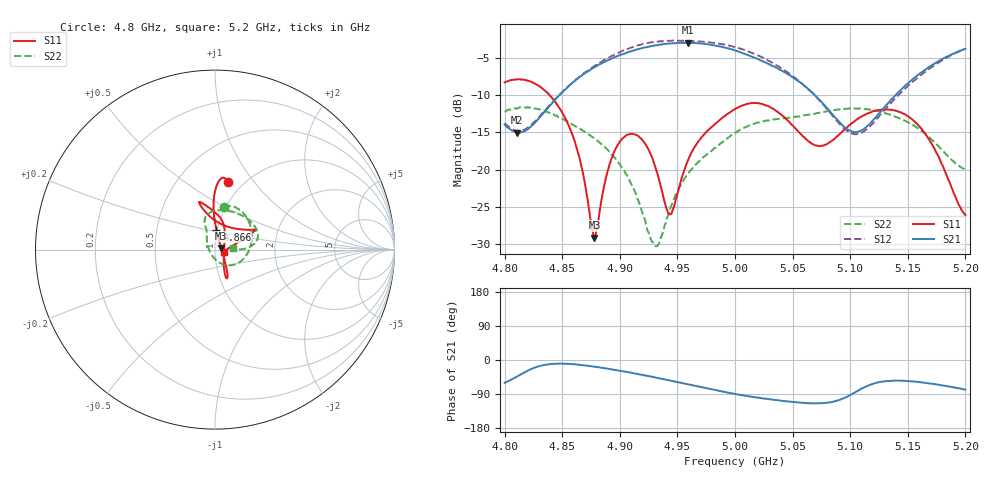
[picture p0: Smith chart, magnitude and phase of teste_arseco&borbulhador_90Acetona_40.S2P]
! Network Analyzer HP8722D
! Hewlett-Packard
! Data name: Linha & Wilkinson
! Saver's name: Rodrigo Anjos
! Comments: Teste da utilização de aquisição
! continua pelo VNA HP8722D
! Time and date: 17/4/2025 11:23
!  Frequency  S11  S21  S12  S22
# HZ  S  MA R 50
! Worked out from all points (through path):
!   401 points, 4.8 GHz to 5.2 GHz, reference 50 ohm
!   highest |S21| = -2.98 dB at 4.959 GHz (marker M1); lowest = -15.0 dB at 4.811 GHz (marker M2)
!   lowest |S11| = -29.1 dB at 4.878 GHz (marker M3), VSWR 1.07, Z = 53.5 + j0.958 ohm
!   |S11| at or under -10 dB: 4.839 GHz to end of sweep
!   |S22| runs from -30.2 to -11.6 dB; largest |S21 - S12| = 1.4
!   S11 on the Smith chart (normalised r, x): 4.8 GHz: 0.85, +0.75; 4.866 GHz: 0.99, +0.22; 5.2 GHz: 1.10, -0.03
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4.8e9  0.3843 79.5  0.2007 -60.2  0.2055 74.9  0.2451 78.1
4.811e9  0.4031 82.8  0.1772 -43.4  0.1824 90.3  0.2572 68.3
4.844e9  0.2844 91.2  0.2952 -10.0  0.297 122.8  0.2301 29.2
4.857e9  0.1869 91.7  0.3714 -10.4  0.3726 124.0  0.205 10.2
4.866e9  0.1112 85.8  0.422 -13.1  0.4254 123.2  0.1871 -3.4
4.867e9  0.103 84.8  0.4278 -13.4  0.4309 123.2  0.1853 -4.9
4.878e9  0.03516 14.7  0.4862 -17.8  0.4946 120.9  0.1624 -21.6
4.891e9  0.1078 -55.5  0.5459 -23.9  0.5668 116.6  0.1318 -40.1
4.904e9  0.1661 -65.2  0.5997 -30.5  0.6316 111.3  0.09819 -58.4
4.92e9  0.1571 -68.5  0.6541 -39.7  0.6964 102.6  0.05017 -93.1
4.929e9  0.115 -64.4  0.6771 -44.9  0.7167 97.2  0.03251 -139.0
4.934e9  0.08619 -55.6  0.6875 -48.2  0.725 93.9  0.03226 -176.3
4.944e9  0.05019 1.3  0.7019 -54.5  0.7303 87.4  0.05575 140.9
4.959e9  0.1148 61.7  0.7096 -64.2  0.7301 77.8  0.09425 119.6
4.973e9  0.1719 78.2  0.6973 -73.2  0.7193 68.9  0.1223 113.1
5e9  0.255 102.7  0.6288 -89.6  0.6645 51.3  0.1772 109.3
5.03e9  0.2638 108.5  0.5078 -103.6  0.5328 35.1  0.2146 92.1
5.067e9  0.1496 80.5  0.3294 -114.2  0.3279 26.2  0.2357 59.0
5.103e9  0.2091 31.7  0.1788 -87.4  0.1734 56.5  0.2574 27.1
5.134e9  0.2524 25.7  0.2849 -55.0  0.2726 91.1  0.235 11.0
5.164e9  0.1791 21.4  0.4612 -59.7  0.4458 88.1  0.1774 2.5
5.2e9  0.04979 -16.9  0.6444 -78.1  0.6457 71.0  0.09988 4.7
